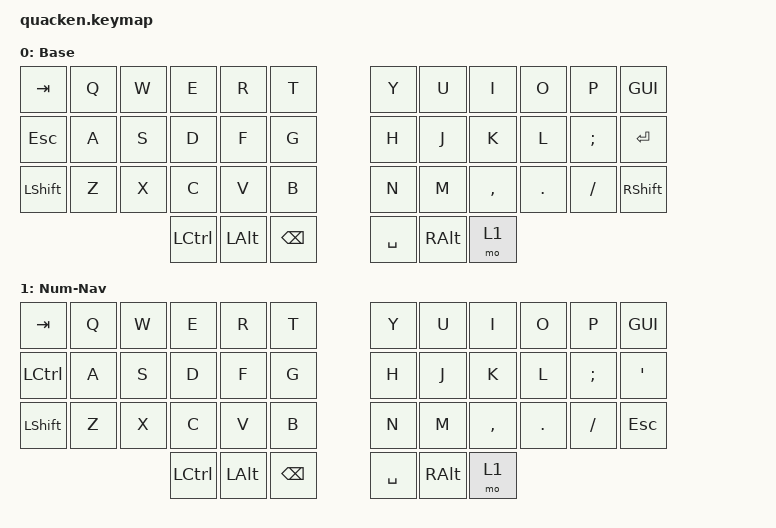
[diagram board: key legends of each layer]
#include <behaviors.dtsi>
#include <dt-bindings/zmk/keys.h>

/ {
    keymap {
        compatible = "zmk,keymap";

        default_layer {
            display-name = "Base";
            bindings = <
   &kp TAB   &kp Q &kp W &kp E &kp R &kp T   &kp Y &kp U  &kp I     &kp O   &kp P    &kp GUI
   &kp ESC   &kp A &kp S &kp D &kp F &kp G   &kp H &kp J  &kp K     &kp L   &kp SEMI &kp ENTER
   &kp LSHFT &kp Z &kp X &kp C &kp V &kp B   &kp N &kp M  &kp COMMA &kp DOT &kp FSLH &kp RSHIFT
                  &kp LCTL &kp LALT &kp BSPC   &kp SPACE &kp RALT &mo 1
            >;
        };

        num_nav {
            display-name = "Num-Nav";
            bindings = <
   &kp TAB   &kp Q &kp W &kp E &kp R &kp T   &kp Y &kp U  &kp I     &kp O   &kp P    &kp GUI
   &kp LCTRL &kp A &kp S &kp D &kp F &kp G   &kp H &kp J  &kp K     &kp L   &kp SEMI &kp SQT
   &kp LSHFT &kp Z &kp X &kp C &kp V &kp B   &kp N &kp M  &kp COMMA &kp DOT &kp FSLH &kp ESC
                  &kp LCTL &kp LALT &kp BSPC   &kp SPACE &kp RALT &mo 1
            >;
        };
    };
};
